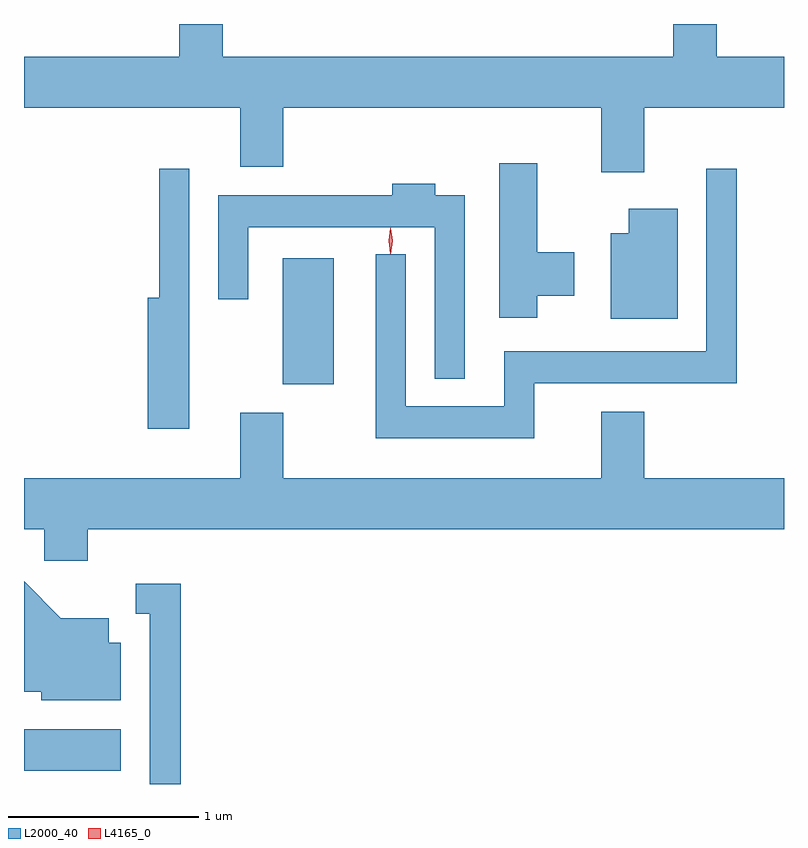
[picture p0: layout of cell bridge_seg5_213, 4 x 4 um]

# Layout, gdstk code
import gdstk
lib = gdstk.Library(unit=1e-6, precision=1e-09)
def R(c, l, rs):  # rectangles x0, y0, x1, y1
    for r in rs: c.add(gdstk.rectangle(r[:2], r[2:], *l))
def P(c, l, *ps):  # polygons
    for p in ps: c.add(gdstk.Polygon(p, *l))
L2000_40 = (2000, 40)
L4165_0 = (4165, 0)

bridge_seg5_213 = lib.new_cell('bridge_seg5_213')
R(bridge_seg5_213, L2000_40, [(1337.594,1424.446,1338.104,1424.664), (1338.956,1426.481,1339.224,1427.144)])
P(bridge_seg5_213, L2000_40, [(1340.859,1427.936),(1341.594,1427.936),(1341.594,1428.204),(1341.239,1428.204),(1341.239,1428.376),(1341.011,1428.376),(1341.011,1428.204),(1338.639,1428.204),(1338.639,1428.376),(1338.411,1428.376),(1338.411,1428.204),(1337.594,1428.204),(1337.594,1427.936),(1338.731,1427.936),(1338.731,1427.626),(1338.959,1427.626),(1338.959,1427.936),(1340.631,1427.936),(1340.631,1427.596),(1340.859,1427.596)],
  [(1340.294,1426.946),(1340.489,1426.946),(1340.489,1427.174),(1340.294,1427.174),(1340.294,1427.644),(1340.096,1427.644),(1340.096,1426.831),(1340.294,1426.831)],
  [(1340.279,1426.486),(1341.344,1426.486),(1341.344,1427.613),(1341.186,1427.613),(1341.186,1426.654),(1340.121,1426.654),(1340.121,1426.364),(1339.604,1426.364),(1339.604,1427.163),(1339.446,1427.163),(1339.446,1426.196),(1340.279,1426.196)],
  [(1338.464,1427.613),(1338.306,1427.613),(1338.306,1426.934),(1338.246,1426.934),(1338.246,1426.246),(1338.464,1426.246)],
  [(1339.914,1427.474),(1339.759,1427.474),(1339.759,1427.534),(1339.531,1427.534),(1339.531,1427.474),(1338.616,1427.474),(1338.616,1426.928),(1338.774,1426.928),(1338.774,1427.306),(1339.756,1427.306),(1339.756,1426.508),(1339.914,1426.508)],
  [(1341.034,1427.404),(1340.776,1427.404),(1340.776,1427.274),(1340.681,1427.274),(1340.681,1426.826),(1341.034,1426.826)],
  [(1337.929,1425.716),(1341.594,1425.716),(1341.594,1425.984),(1340.859,1425.984),(1340.859,1426.334),(1340.631,1426.334),(1340.631,1425.984),(1338.959,1425.984),(1338.959,1426.329),(1338.731,1426.329),(1338.731,1425.984),(1337.594,1425.984),(1337.594,1425.716),(1337.701,1425.716),(1337.701,1425.551),(1337.929,1425.551)],
  [(1338.104,1425.119),(1338.039,1425.119),(1338.039,1425.249),(1337.787,1425.249),(1337.594,1425.442),(1337.594,1424.861),(1337.686,1424.861),(1337.686,1424.816),(1338.104,1424.816)],
  [(1338.419,1425.429),(1338.183,1425.429),(1338.183,1425.271),(1338.256,1425.271),(1338.256,1424.376),(1338.419,1424.376)])
P(bridge_seg5_213, L4165_0, [(1339.524,1427.164),(1339.515,1427.234),(1339.524,1427.302),(1339.525,1427.303),(1339.525,1427.302),(1339.535,1427.234),(1339.525,1427.164),(1339.525,1427.164)],
  [(1339.522,1427.167),(1339.513,1427.234),(1339.522,1427.3),(1339.523,1427.3),(1339.523,1427.3),(1339.533,1427.234),(1339.523,1427.167),(1339.523,1427.167)])

lib.write_gds('bridge_seg5_213.gds')
